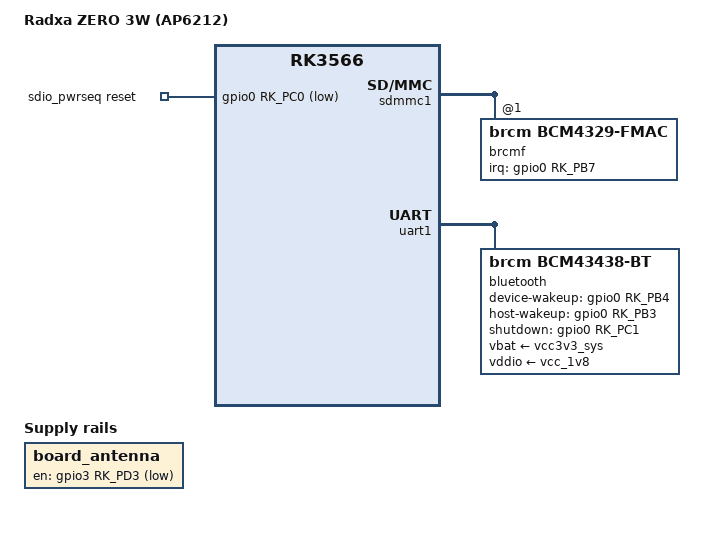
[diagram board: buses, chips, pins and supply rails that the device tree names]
// SPDX-License-Identifier: (GPL-2.0+ OR MIT)
/*
 * Radxa ZERO 3W with the original AP6212 (BCM43438) module.
 *
 * WiFi is probed by brcmfmac over SDIO; Bluetooth is a serdev child of
 * UART1.  The board wiring comes from the vendor
 * rk3566-radxa-zero-3w-ap6212.dts.
 */

/dts-v1/;

#include "rk3566-radxa-zero-3w.dtsi"

/ {
	model = "Radxa ZERO 3W (AP6212)";
	compatible = "radxa,zero3w-ap6212", "radxa,zero-3w", "rockchip,rk3566";

	sdio_pwrseq: sdio-pwrseq {
		compatible = "mmc-pwrseq-simple";
		pinctrl-names = "default";
		pinctrl-0 = <&wifi_reg_on_h>;
		reset-gpios = <&gpio0 RK_PC0 GPIO_ACTIVE_LOW>;
	};

	board_antenna: board-antenna {
		compatible = "regulator-fixed";
		enable-active-low;
		gpio = <&gpio3 RK_PD3 GPIO_ACTIVE_LOW>;
		regulator-always-on;
		regulator-boot-on;
		regulator-name = "board_antenna";
		pinctrl-names = "default";
		pinctrl-0 = <&ant_1>;
	};
};

&sdmmc1 {
	supports-sdio;
	disable-wp;
	rockchip,default-sample-phase = <180>;
	#address-cells = <1>;
	#size-cells = <0>;

	brcmf: wifi@1 {
		compatible = "brcm,bcm4329-fmac";
		reg = <1>;
		interrupt-parent = <&gpio0>;
		interrupts = <RK_PB7 IRQ_TYPE_LEVEL_HIGH>;
		interrupt-names = "host-wake";
		pinctrl-names = "default";
		pinctrl-0 = <&wifi_wake_host_h>;
	};
};

&uart1 {
	pinctrl-names = "default";
	pinctrl-0 = <&uart1m0_xfer &uart1m0_ctsn &uart1m0_rtsn>;
	uart-has-rtscts;
	status = "okay";

	bluetooth {
		compatible = "brcm,bcm43438-bt";
		clocks = <&rk817 1>;
		clock-names = "lpo";
		device-wakeup-gpios = <&gpio0 RK_PB4 GPIO_ACTIVE_HIGH>;
		host-wakeup-gpios = <&gpio0 RK_PB3 GPIO_ACTIVE_HIGH>;
		shutdown-gpios = <&gpio0 RK_PC1 GPIO_ACTIVE_HIGH>;
		max-speed = <1500000>;
		pinctrl-names = "default";
		pinctrl-0 = <&bt_wake_host_h &host_wake_bt_h &bt_reg_on_h>;
		vbat-supply = <&vcc3v3_sys>;
		vddio-supply = <&vcc_1v8>;
	};
};
